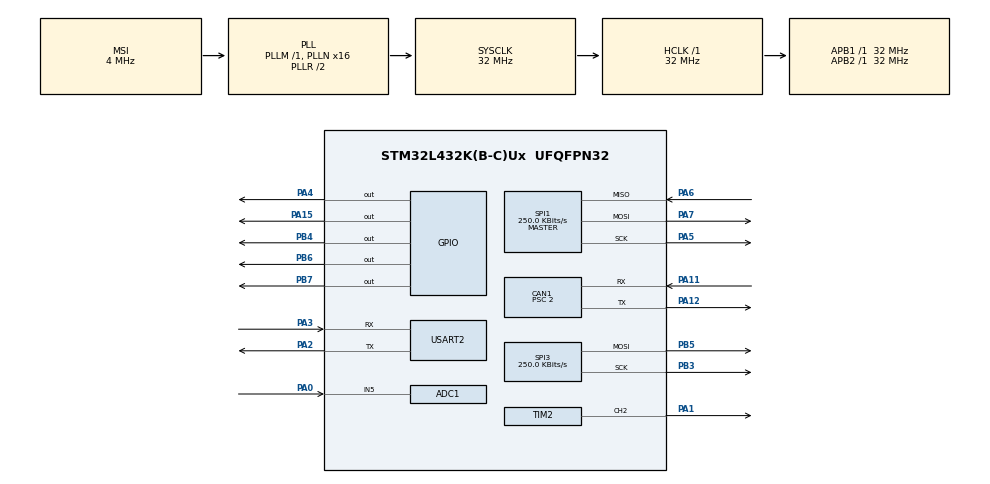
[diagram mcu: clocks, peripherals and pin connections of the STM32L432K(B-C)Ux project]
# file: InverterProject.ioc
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ADC1.Channel-1\#ChannelRegularConversion=ADC_CHANNEL_5
ADC1.NbrOfConversionFlag=1
ADC1.OffsetNumber-1\#ChannelRegularConversion=ADC_OFFSET_NONE
ADC1.Rank-1\#ChannelRegularConversion=1
ADC1.SamplingTime-1\#ChannelRegularConversion=ADC_SAMPLETIME_2CYCLES_5
ADC1.master=1
CAN1.BS1=CAN_BS1_12TQ
CAN1.BS2=CAN_BS2_3TQ
CAN1.CalculateBaudRate=1000000
CAN1.CalculateTimeBit=1000
CAN1.CalculateTimeQuantum=62.5
CAN1.Prescaler=2
FATFS._MAX_SS=4096
FATFS._USE_LFN=3
FREERTOS.Tasks01=defaultTask,0,128,StartDefaultTask,Default,NULL,Dynamic,NULL,NULL
FREERTOS.configTOTAL_HEAP_SIZE=16384
Mcu.Family=STM32L4
Mcu.Name=STM32L432K(B-C)Ux
Mcu.Package=UFQFPN32
NUCLEO-L432KC.LD3=false
NVIC.CAN1_RX0_IRQn=true\:5\:0\:false\:false\:true\:true\:true\:true\:true
NVIC.PriorityGroup=NVIC_PRIORITYGROUP_4
NVIC.TIM1_UP_TIM16_IRQn=true\:15\:0\:false\:false\:true\:false\:false\:true\:true
NVIC.TimeBase=TIM1_UP_TIM16_IRQn
NVIC.TimeBaseIP=TIM1
PA0.Signal=ADCx_IN5
PA1.Signal=S_TIM2_CH2
PA11.Mode=CAN_Activate
PA11.Signal=CAN1_RX
PA12.Mode=CAN_Activate
PA12.Signal=CAN1_TX
PA13\ (JTMS-SWDIO).Mode=Serial_Wire
PA13\ (JTMS-SWDIO).Signal=SYS_JTMS-SWDIO
PA14\ (JTCK-SWCLK).Mode=Serial_Wire
PA14\ (JTCK-SWCLK).Signal=SYS_JTCK-SWCLK
PA15\ (JTDI).Signal=GPIO_Output
PA2.Mode=Asynchronous
PA2.Signal=USART2_TX
PA3.Mode=Asynchronous
PA3.Signal=USART2_RX
PA4.Signal=GPIO_Output
PA5.Mode=Full_Duplex_Master
PA5.Signal=SPI1_SCK
PA6.Mode=Full_Duplex_Master
PA6.Signal=SPI1_MISO
PA7.Mode=Full_Duplex_Master
PA7.Signal=SPI1_MOSI
PB3\ (JTDO-TRACESWO).Mode=TX_Only_Simplex_Unidirect_Master
PB3\ (JTDO-TRACESWO).Signal=SPI3_SCK
PB4\ (NJTRST).Signal=GPIO_Output
PB5.Mode=TX_Only_Simplex_Unidirect_Master
PB5.Signal=SPI3_MOSI
PB6.Signal=GPIO_Output
PB7.Signal=GPIO_Output
PC14-OSC32_IN\ (PC14).Mode=LSE-External-Oscillator
PC14-OSC32_IN\ (PC14).Signal=RCC_OSC32_IN
PC15-OSC32_OUT\ (PC15).Mode=LSE-External-Oscillator
PC15-OSC32_OUT\ (PC15).Signal=RCC_OSC32_OUT
ProjectManager.HeapSize=0x200
ProjectManager.StackSize=0x400
ProjectManager.TargetToolchain=Makefile
RCC.ADCFreq_Value=32000000
RCC.AHBFreq_Value=32000000
RCC.APB1Freq_Value=32000000
RCC.APB1TimFreq_Value=32000000
RCC.APB2Freq_Value=32000000
RCC.APB2TimFreq_Value=32000000
RCC.CortexFreq_Value=32000000
RCC.HCLKFreq_Value=32000000
RCC.HSE_VALUE=8000000
RCC.HSI16_VALUE=16000000
RCC.HSI48_VALUE=48000000
RCC.HSI_VALUE=16000000
RCC.MSI_VALUE=4000000
RCC.PLLMUL=RCC_PLLMUL_4
RCC.PLLN=16
RCC.PLLSAI1N=16
RCC.SYSCLKFreq_VALUE=32000000
RCC.SYSCLKSource=RCC_SYSCLKSOURCE_PLLCLK
RCC.USBFreq_Value=32000000
RCC.VCOOutputFreq_Value=64000000
SH.ADCx_IN5.0=ADC1_IN5,IN5-Single-Ended
SH.S_TIM2_CH2.0=TIM2_CH2,PWM Generation2 CH2
SPI1.BaudRatePrescaler=SPI_BAUDRATEPRESCALER_128
SPI1.CalculateBaudRate=250.0 KBits/s
SPI1.DataSize=SPI_DATASIZE_8BIT
SPI1.Direction=SPI_DIRECTION_2LINES
SPI1.Mode=SPI_MODE_MASTER
SPI1.VirtualType=VM_MASTER
SPI3.BaudRatePrescaler=SPI_BAUDRATEPRESCALER_128
SPI3.CLKPhase=SPI_PHASE_2EDGE
SPI3.CLKPolarity=SPI_POLARITY_HIGH
SPI3.CalculateBaudRate=250.0 KBits/s
SPI3.DataSize=SPI_DATASIZE_8BIT
SPI3.Direction=SPI_DIRECTION_2LINES
SPI3.Mode=SPI_MODE_MASTER
SPI3.VirtualType=VM_MASTER
TIM2.Channel-PWM\ Generation2\ CH2=TIM_CHANNEL_2
USART2.SwapParam=ADVFEATURE_SWAP_ENABLE
USART2.VirtualMode-Asynchronous=VM_ASYNC
VP_FATFS_VS_Generic.Mode=User_defined
VP_FREERTOS_VS_CMSIS_V1.Mode=CMSIS_V1
VP_NUCLEO-L432KC_VS_BSP_COMMON.Mode=COMMON
VP_SYS_VS_tim1.Mode=TIM1
board=NUCLEO-L432KC

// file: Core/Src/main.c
/* USER CODE BEGIN Header */
/**
  ******************************************************************************
  * @file           : main.c
  * @brief          : Main program body
  ******************************************************************************
  * @attention
  *
  * Copyright (c) 2026 STMicroelectronics.
  * All rights reserved.
  *
  * This software is licensed under terms that can be found in the LICENSE file
  * in the root directory of this software component.
  * If no LICENSE file comes with this software, it is provided AS-IS.
  *
  ******************************************************************************
  */
/* USER CODE END Header */
#include "main.h"
#include "cmsis_os.h"
#include "fatfs.h"

/* USER CODE BEGIN Includes */
#include <stdio.h>
#include <string.h>
#include "FATFS_SD.h"
#include "LCD.h"
#include "CAN.h"
#include "stdio.h"
#include "FreeRTOS.h"
#include "queue.h"

/* USER CODE END Includes */

ADC_HandleTypeDef hadc1;

CAN_HandleTypeDef hcan1;

SPI_HandleTypeDef hspi1;
SPI_HandleTypeDef hspi3;

TIM_HandleTypeDef htim2;

UART_HandleTypeDef huart2;

osThreadId defaultTaskHandle;

void SystemClock_Config(void);
static void MX_GPIO_Init(void);
static void MX_CAN1_Init(void);
static void MX_SPI1_Init(void);
static void MX_ADC1_Init(void);
static void MX_TIM2_Init(void);
static void MX_SPI3_Init(void);
static void MX_USART2_UART_Init(void);
void StartDefaultTask(void const * argument);

/* USER CODE BEGIN PFP */

extern volatile uint16_t Timer1, Timer2;

uint8_t Buffer[25] = {0};
uint8_t Space[] = " - ";
uint8_t StartMSG[] = "Starting I2C Scanning: \r\n";
uint8_t EndMSG[] = "Done! \r\n\r\n";

/* USER CODE END PFP */

/* USER CODE BEGIN 0 */

TaskHandle_t StartSdTask = NULL;
TaskHandle_t LCD_Task = NULL;
TaskHandle_t ThrottleCanTask = NULL;
static QueueHandle_t canDisplayQueue = NULL;
static QueueHandle_t canLogQueue = NULL;

static void vLCD_Task(void *pvParameters)
{
  (void)pvParameters;
  static LCD_Handle lcd;

  LCD_Init(&lcd, &hspi3, GPIOB, GPIO_PIN_4, GPIOB, GPIO_PIN_6);
  LCD_PrintLinePadded(&lcd, 0, "LCD TEST");
  LCD_PrintLinePadded(&lcd, 1, "SPI DISPLAY OK");
  LCD_PrintLinePadded(&lcd, 2, "Visible = working");
  LCD_PrintLinePadded(&lcd, 3, "");
  vTaskSuspend(NULL);
}

static void vCAN_RxTask(void *pvParameters)
{
  (void)pvParameters;
  CAN_Comm_SetRxTask(xTaskGetCurrentTaskHandle());
  //printf("CAN RX task started\r\n");
  for (;;)
  {
    //printf("Starting CAN RX task!\n");
    CAN_Message message;
    while (CAN_Comm_Pop(&message))
    {
      /* Keep the receiver draining promptly; the LCD only needs GPS speed. */
      //printf("CAN RX PARSING MESSAGE\n");
      if (!message.is_extended && message.id == 0x007u && message.dlc >= 3)
      {
        xQueueOverwrite(canDisplayQueue, &message);
      }
      handle_message(&message);
      /* The raw CAN_Message is also the record to pass to a future SD logger. */
    }

    ulTaskNotifyTake(pdTRUE, portMAX_DELAY);
  }
}

static void vThrottleCanTask(void *pvParameters)
{
  (void)pvParameters;
  printf("Throttle CAN task started\r\n");

  for (;;)
  {
    printf("Throttle CAN task running\r\n");
    uint8_t throttle_percent;
    HAL_StatusTypeDef status =
        Read_ADC_Throttle_Percent(&hadc1, &throttle_percent);
        printf("Throttle ADC read: %u%%\r\n", throttle_percent);
    if (status == HAL_OK)
    {
      status = CAN_Comm_Send(&hcan1, THROTTLE_CAN_ID, false,
                             &throttle_percent, 1);
      printf("Throttle CAN task sent: %u%%\r\n", throttle_percent);
    }

    if (status != HAL_OK)
    {
      printf("Throttle CAN task failed: %d\r\n", (int)status);
    }

    vTaskDelay(pdMS_TO_TICKS(THROTTLE_CAN_PERIOD_MS));
  }
}
TaskHandle_t CAN_Task_Handle = NULL;

static TaskHandle_t canRxHandle = NULL;
static TaskHandle_t throttleTxHandle = NULL;

#define SD_LOG_SYNC_ROWS 16U
#define SD_LOG_SYNC_INTERVAL_MS 1000U

static void vSdLoggerTask(void *pvParameters)
{
  (void)pvParameters;
  static FIL logFile;
  char logPath[sizeof(USERPath) + sizeof("CANLOG.CSV")];
  char row[CAN_LOG_ROW_SIZE + 2];
  FRESULT result;
  int pathLength;

  pathLength = snprintf(logPath, sizeof(logPath), "%sCANLOG.CSV", USERPath);
  if (pathLength < 0 || pathLength >= (int)sizeof(logPath))
  {
    printf("SD logger: CSV path is too long\r\n");
    vTaskDelete(NULL);
    return;
  }

  for (;;)
  {
    result = f_mount(&USERFatFS, USERPath, 1);
    if (result == FR_OK)
    {
      printf("SD logger: card mounted\r\n");
      break;
    }

    printf("SD logger: mount failed (%d), retrying\r\n", (int)result);
    vTaskDelay(pdMS_TO_TICKS(1000));
  }

  for (;;)
  {
    result = f_open(&logFile, logPath, FA_OPEN_APPEND | FA_WRITE);
    if (result == FR_OK)
    {
      break;
    }

    printf("SD logger: opening %s failed (%d), retrying\r\n",
           logPath, (int)result);
    vTaskDelay(pdMS_TO_TICKS(1000));
  }

  if (f_size(&logFile) == 0)
  {
    const char header[] = CAN_LOG_CSV_HEADER;
    UINT bytesWritten = 0;
    result = f_write(&logFile, header, sizeof(header) - 1, &bytesWritten);
    if (result != FR_OK || bytesWritten != sizeof(header) - 1)
    {
      printf("SD logger: writing CSV header failed (%d, %u bytes)\r\n",
             (int)result, (unsigned)bytesWritten);
      f_close(&logFile);
      vTaskDelete(NULL);
      return;
    }

    result = f_sync(&logFile);
    if (result != FR_OK)
    {
      printf("SD logger: syncing CSV header failed (%d)\r\n", (int)result);
      f_close(&logFile);
      vTaskDelete(NULL);
      return;
    }
  }

  uint32_t rowsSinceSync = 0;
  TickType_t lastSync = xTaskGetTickCount();

  for (;;)
  {
    if (CAN_Comm_ReadLogRow(row, pdMS_TO_TICKS(100)))
    {
      size_t rowLength = strlen(row);
      row[rowLength] = '\r';
      row[rowLength + 1] = '\n';
      UINT writeLength = (UINT)(rowLength + 2);
      UINT bytesWritten = 0;
      result = f_write(&logFile, row, writeLength, &bytesWritten);
      if (result != FR_OK || bytesWritten != writeLength)
      {
        printf("SD logger: writing CSV row failed (%d, %u/%u bytes)\r\n",
               (int)result, (unsigned)bytesWritten, (unsigned)writeLength);
        f_close(&logFile);
        vTaskDelete(NULL);
        return;
      }

      rowsSinceSync++;
      //printf("SD logger: wrote CSV row (%u bytes)\r\n",
      //       (unsigned)writeLength);
    }

    TickType_t now = xTaskGetTickCount();
    if (rowsSinceSync >= SD_LOG_SYNC_ROWS ||
        (rowsSinceSync > 0 &&
         now - lastSync >= pdMS_TO_TICKS(SD_LOG_SYNC_INTERVAL_MS)))
    {
      result = f_sync(&logFile);
      if (result != FR_OK)
      {
        printf("SD logger: syncing CSV failed (%d)\r\n", (int)result);
        f_close(&logFile);
        vTaskDelete(NULL);
        return;
      }

      rowsSinceSync = 0;
      lastSync = now;
    }
  }
}

static void PrintCanFrame(const CAN_Message *msg)
{
    printf("RX %c ID=0x%0*lX DLC=%u DATA=",
           msg->is_extended ? 'E' : 'S',
           msg->is_extended ? 8 : 3,
           (unsigned long)msg->id, (unsigned)msg->dlc);

    for (uint8_t i = 0; i < msg->dlc; i++)
    {
        printf("%02X%s", (unsigned)msg->data[i],
               (i + 1u < msg->dlc) ? " " : "");
    }

    printf("\r\n");
}

static void CanRxTask(void *arg)
{
  printf("CAN RX task started\n");
    (void)arg;
    CAN_Message msg;
    for (;;)
    {
        printf("RX handling message\n");
        ulTaskNotifyTake(pdTRUE, portMAX_DELAY);   /* sleep until ISR wakes us */

        while (CAN_Comm_Pop(&msg))
        {
            PrintCanFrame(&msg);  /* Temporary raw-frame diagnostic */
            handle_message(&msg);
        }
    }
}

/* USER CODE END 0 */

int main(void)
{

  /* MCU Configuration--------------------------------------------------------*/

  /* Reset of all peripherals, Initializes the Flash interface and the Systick. */
  HAL_Init();

  /* Configure the system clock */
  SystemClock_Config();

  /* Initialize all configured peripherals */
  MX_GPIO_Init();
  MX_CAN1_Init();
  MX_SPI1_Init();
  MX_FATFS_Init();
  MX_ADC1_Init();
  MX_TIM2_Init();
  MX_SPI3_Init();
  MX_USART2_UART_Init();
  /* USER CODE BEGIN 2 */
  printf("HELLO THERE!\r\n");
  canLogQueue = xQueueCreate(CAN_LOG_QUEUE_LENGTH, CAN_LOG_ROW_SIZE);
  if (canLogQueue == NULL)
  {
    printf("CAN log queue creation failed, free heap = %u\r\n",
           (unsigned)xPortGetFreeHeapSize());
    Error_Handler();
  }
  CAN_Comm_SetLogQueue(canLogQueue);
  canDisplayQueue = xQueueCreate(1, sizeof(CAN_Message));
  if (canDisplayQueue == NULL)
  {
    printf("CAN display queue creation failed, free heap = %u\r\n",
           (unsigned)xPortGetFreeHeapSize());
    Error_Handler();
  }

  // LCD_PrintStrAt(&lcd,0,2, "speed:");
  // BaseType_t sdLoggerTaskStatus =
  //     xTaskCreate(vSdLoggerTask, "sdLogger", 1024, NULL,
  //                 tskIDLE_PRIORITY + 1, &StartSdTask);
  // if (sdLoggerTaskStatus != pdPASS)
  // {
  //   printf("SD logger task creation failed, free heap = %u\r\n",
  //          (unsigned)xPortGetFreeHeapSize());
  //   Error_Handler();
  // }
  // BaseType_t okLCD = xTaskCreate(vLCD_Task, "LCD", 1024, NULL, 5 , &LCD_Task);
  //   if (okLCD != pdPASS)
  // {
  //   printf("LCD task create failed, free heap = %u\r\n", (unsigned)xPortGetFreeHeapSize());
  //   Error_Handler();
  // }

  BaseType_t canRxTaskStatus =
      xTaskCreate(vCAN_RxTask, "canrx", 1028, NULL,
                  tskIDLE_PRIORITY + 3, &canRxHandle);
  if (canRxTaskStatus != pdPASS)
  {
    printf("CAN RX task creation failed, free heap = %u\r\n",
           (unsigned)xPortGetFreeHeapSize());
    Error_Handler();
  }
  CAN_Comm_SetRxTask(canRxHandle);

    if (CAN_Comm_Init(&hcan1) != HAL_OK)
        Error_Handler();
    BaseType_t throttleTaskStatus =
        xTaskCreate(vThrottleCanTask, "throttleTX", 1024, NULL,
                    tskIDLE_PRIORITY + 2, &throttleTxHandle);
    if (throttleTaskStatus != pdPASS)
    {
      printf("Throttle CAN task creation failed, free heap = %u\r\n",
             (unsigned)xPortGetFreeHeapSize());
      Error_Handler();
    }

  /* USER CODE END 2 */

  /* Create the thread(s) */
  /* definition and creation of defaultTask */
  osThreadDef(defaultTask, StartDefaultTask, osPriorityNormal, 0, 128);
  defaultTaskHandle = osThreadCreate(osThread(defaultTask), NULL);

  /* USER CODE BEGIN RTOS_THREADS */

  // // /* add threads, ... */
  /* USER CODE END RTOS_THREADS */

  /* Start scheduler */
  osKernelStart();

  /* We should never get here as control is now taken by the scheduler */

  /* Infinite loop */
  while (1)
  {

  }
}

void SystemClock_Config(void)
{
  RCC_OscInitTypeDef RCC_OscInitStruct = {0};
  RCC_ClkInitTypeDef RCC_ClkInitStruct = {0};

  /** Configure the main internal regulator output voltage
  */
  if (HAL_PWREx_ControlVoltageScaling(PWR_REGULATOR_VOLTAGE_SCALE1) != HAL_OK)
  {
    Error_Handler();
  }

  /** Configure LSE Drive Capability
  */
  HAL_PWR_EnableBkUpAccess();
  __HAL_RCC_LSEDRIVE_CONFIG(RCC_LSEDRIVE_LOW);

  /** Initializes the RCC Oscillators according to the specified parameters
  * in the RCC_OscInitTypeDef structure.
  */
  RCC_OscInitStruct.OscillatorType = RCC_OSCILLATORTYPE_LSE|RCC_OSCILLATORTYPE_MSI;
  RCC_OscInitStruct.LSEState = RCC_LSE_ON;
  RCC_OscInitStruct.MSIState = RCC_MSI_ON;
  RCC_OscInitStruct.MSICalibrationValue = 0;
  RCC_OscInitStruct.MSIClockRange = RCC_MSIRANGE_6;
  RCC_OscInitStruct.PLL.PLLState = RCC_PLL_ON;
  RCC_OscInitStruct.PLL.PLLSource = RCC_PLLSOURCE_MSI;
  RCC_OscInitStruct.PLL.PLLM = 1;
  RCC_OscInitStruct.PLL.PLLN = 16;
  RCC_OscInitStruct.PLL.PLLP = RCC_PLLP_DIV7;
  RCC_OscInitStruct.PLL.PLLQ = RCC_PLLQ_DIV2;
  RCC_OscInitStruct.PLL.PLLR = RCC_PLLR_DIV2;
  if (HAL_RCC_OscConfig(&RCC_OscInitStruct) != HAL_OK)
  {
    Error_Handler();
  }

  /** Initializes the CPU, AHB and APB buses clocks
  */
  RCC_ClkInitStruct.ClockType = RCC_CLOCKTYPE_HCLK|RCC_CLOCKTYPE_SYSCLK
                              |RCC_CLOCKTYPE_PCLK1|RCC_CLOCKTYPE_PCLK2;
  RCC_ClkInitStruct.SYSCLKSource = RCC_SYSCLKSOURCE_PLLCLK;
  RCC_ClkInitStruct.AHBCLKDivider = RCC_SYSCLK_DIV1;
  RCC_ClkInitStruct.APB1CLKDivider = RCC_HCLK_DIV1;
  RCC_ClkInitStruct.APB2CLKDivider = RCC_HCLK_DIV1;

  if (HAL_RCC_ClockConfig(&RCC_ClkInitStruct, FLASH_LATENCY_1) != HAL_OK)
  {
    Error_Handler();
  }

  /** Enable MSI Auto calibration
  */
  HAL_RCCEx_EnableMSIPLLMode();
}

static void MX_ADC1_Init(void)
{

  ADC_ChannelConfTypeDef sConfig = {0};

  /** Common config
  */
  hadc1.Instance = ADC1;
  hadc1.Init.ClockPrescaler = ADC_CLOCK_ASYNC_DIV1;
  hadc1.Init.Resolution = ADC_RESOLUTION_12B;
  hadc1.Init.DataAlign = ADC_DATAALIGN_RIGHT;
  hadc1.Init.ScanConvMode = ADC_SCAN_DISABLE;
  hadc1.Init.EOCSelection = ADC_EOC_SINGLE_CONV;
  hadc1.Init.LowPowerAutoWait = DISABLE;
  hadc1.Init.ContinuousConvMode = DISABLE;
  hadc1.Init.NbrOfConversion = 1;
  hadc1.Init.DiscontinuousConvMode = DISABLE;
  hadc1.Init.ExternalTrigConv = ADC_SOFTWARE_START;
  hadc1.Init.ExternalTrigConvEdge = ADC_EXTERNALTRIGCONVEDGE_NONE;
  hadc1.Init.DMAContinuousRequests = DISABLE;
  hadc1.Init.Overrun = ADC_OVR_DATA_PRESERVED;
  hadc1.Init.OversamplingMode = DISABLE;
  if (HAL_ADC_Init(&hadc1) != HAL_OK)
  {
    Error_Handler();
  }

  /** Configure Regular Channel
  */
  sConfig.Channel = ADC_CHANNEL_5;
  sConfig.Rank = ADC_REGULAR_RANK_1;
  sConfig.SamplingTime = ADC_SAMPLETIME_2CYCLES_5;
  sConfig.SingleDiff = ADC_SINGLE_ENDED;
  sConfig.OffsetNumber = ADC_OFFSET_NONE;
  sConfig.Offset = 0;
  if (HAL_ADC_ConfigChannel(&hadc1, &sConfig) != HAL_OK)
  {
    Error_Handler();
  }

}

static void MX_CAN1_Init(void)
{

  hcan1.Instance = CAN1;
  hcan1.Init.Prescaler = 2;
  hcan1.Init.Mode = CAN_MODE_NORMAL;
  hcan1.Init.SyncJumpWidth = CAN_SJW_1TQ;
  hcan1.Init.TimeSeg1 = CAN_BS1_12TQ;
  hcan1.Init.TimeSeg2 = CAN_BS2_3TQ;
  hcan1.Init.TimeTriggeredMode = DISABLE;
  hcan1.Init.AutoBusOff = DISABLE;
  hcan1.Init.AutoWakeUp = DISABLE;
  hcan1.Init.AutoRetransmission = DISABLE;
  hcan1.Init.ReceiveFifoLocked = DISABLE;
  hcan1.Init.TransmitFifoPriority = DISABLE;
  if (HAL_CAN_Init(&hcan1) != HAL_OK)
  {
    Error_Handler();
  }

}

static void MX_SPI1_Init(void)
{

  /* SPI1 parameter configuration*/
  hspi1.Instance = SPI1;
  hspi1.Init.Mode = SPI_MODE_MASTER;
  hspi1.Init.Direction = SPI_DIRECTION_2LINES;
  hspi1.Init.DataSize = SPI_DATASIZE_8BIT;
  hspi1.Init.CLKPolarity = SPI_POLARITY_LOW;
  hspi1.Init.CLKPhase = SPI_PHASE_1EDGE;
  hspi1.Init.NSS = SPI_NSS_SOFT;
  hspi1.Init.BaudRatePrescaler = SPI_BAUDRATEPRESCALER_128;
  hspi1.Init.FirstBit = SPI_FIRSTBIT_MSB;
  hspi1.Init.TIMode = SPI_TIMODE_DISABLE;
  hspi1.Init.CRCCalculation = SPI_CRCCALCULATION_DISABLE;
  hspi1.Init.CRCPolynomial = 7;
  hspi1.Init.CRCLength = SPI_CRC_LENGTH_DATASIZE;
  hspi1.Init.NSSPMode = SPI_NSS_PULSE_ENABLE;
  if (HAL_SPI_Init(&hspi1) != HAL_OK)
  {
    Error_Handler();
  }

}

static void MX_SPI3_Init(void)
{

  /* SPI3 parameter configuration*/
  hspi3.Instance = SPI3;
  hspi3.Init.Mode = SPI_MODE_MASTER;
  hspi3.Init.Direction = SPI_DIRECTION_2LINES;
  hspi3.Init.DataSize = SPI_DATASIZE_8BIT;
  hspi3.Init.CLKPolarity = SPI_POLARITY_HIGH;
  hspi3.Init.CLKPhase = SPI_PHASE_2EDGE;
  hspi3.Init.NSS = SPI_NSS_SOFT;
  hspi3.Init.BaudRatePrescaler = SPI_BAUDRATEPRESCALER_128;
  hspi3.Init.FirstBit = SPI_FIRSTBIT_MSB;
  hspi3.Init.TIMode = SPI_TIMODE_DISABLE;
  hspi3.Init.CRCCalculation = SPI_CRCCALCULATION_DISABLE;
  hspi3.Init.CRCPolynomial = 7;
  hspi3.Init.CRCLength = SPI_CRC_LENGTH_DATASIZE;
  hspi3.Init.NSSPMode = SPI_NSS_PULSE_DISABLE;
  if (HAL_SPI_Init(&hspi3) != HAL_OK)
  {
    Error_Handler();
  }

}

static void MX_TIM2_Init(void)
{

  TIM_MasterConfigTypeDef sMasterConfig = {0};
  TIM_OC_InitTypeDef sConfigOC = {0};

  htim2.Instance = TIM2;
  htim2.Init.Prescaler = 0;
  htim2.Init.CounterMode = TIM_COUNTERMODE_UP;
  htim2.Init.Period = 4294967295;
  htim2.Init.ClockDivision = TIM_CLOCKDIVISION_DIV1;
  htim2.Init.AutoReloadPreload = TIM_AUTORELOAD_PRELOAD_DISABLE;
  if (HAL_TIM_PWM_Init(&htim2) != HAL_OK)
  {
    Error_Handler();
  }
  sMasterConfig.MasterOutputTrigger = TIM_TRGO_RESET;
  sMasterConfig.MasterSlaveMode = TIM_MASTERSLAVEMODE_DISABLE;
  if (HAL_TIMEx_MasterConfigSynchronization(&htim2, &sMasterConfig) != HAL_OK)
  {
    Error_Handler();
  }
  sConfigOC.OCMode = TIM_OCMODE_PWM1;
  sConfigOC.Pulse = 0;
  sConfigOC.OCPolarity = TIM_OCPOLARITY_HIGH;
  sConfigOC.OCFastMode = TIM_OCFAST_DISABLE;
  if (HAL_TIM_PWM_ConfigChannel(&htim2, &sConfigOC, TIM_CHANNEL_2) != HAL_OK)
  {
    Error_Handler();
  }
  HAL_TIM_MspPostInit(&htim2);

}

static void MX_USART2_UART_Init(void)
{

  huart2.Instance = USART2;
  huart2.Init.BaudRate = 115200;
  huart2.Init.WordLength = UART_WORDLENGTH_8B;
  huart2.Init.StopBits = UART_STOPBITS_1;
  huart2.Init.Parity = UART_PARITY_NONE;
  huart2.Init.Mode = UART_MODE_TX_RX;
  huart2.Init.HwFlowCtl = UART_HWCONTROL_NONE;
  huart2.Init.OverSampling = UART_OVERSAMPLING_16;
  huart2.Init.OneBitSampling = UART_ONE_BIT_SAMPLE_DISABLE;
  huart2.AdvancedInit.AdvFeatureInit = UART_ADVFEATURE_SWAP_INIT;
  huart2.AdvancedInit.Swap = UART_ADVFEATURE_SWAP_ENABLE;
  if (HAL_UART_Init(&huart2) != HAL_OK)
  {
    Error_Handler();
  }

}

static void MX_GPIO_Init(void)
{
  GPIO_InitTypeDef GPIO_InitStruct = {0};

  /* GPIO Ports Clock Enable */
  __HAL_RCC_GPIOC_CLK_ENABLE();
  __HAL_RCC_GPIOA_CLK_ENABLE();
  __HAL_RCC_GPIOB_CLK_ENABLE();

  /*Configure GPIO pin Output Level */
  HAL_GPIO_WritePin(GPIOA, GPIO_PIN_4|GPIO_PIN_15, GPIO_PIN_RESET);

  /*Configure GPIO pin Output Level */
  HAL_GPIO_WritePin(GPIOB, GPIO_PIN_4|GPIO_PIN_6|GPIO_PIN_7, GPIO_PIN_RESET);

  /*Configure GPIO pins : PA4 PA15 */
  GPIO_InitStruct.Pin = GPIO_PIN_4|GPIO_PIN_15;
  GPIO_InitStruct.Mode = GPIO_MODE_OUTPUT_PP;
  GPIO_InitStruct.Pull = GPIO_NOPULL;
  GPIO_InitStruct.Speed = GPIO_SPEED_FREQ_LOW;
  HAL_GPIO_Init(GPIOA, &GPIO_InitStruct);

  /*Configure GPIO pins : PB4 PB6 PB7 */
  GPIO_InitStruct.Pin = GPIO_PIN_4|GPIO_PIN_6|GPIO_PIN_7;
  GPIO_InitStruct.Mode = GPIO_MODE_OUTPUT_PP;
  GPIO_InitStruct.Pull = GPIO_NOPULL;
  GPIO_InitStruct.Speed = GPIO_SPEED_FREQ_LOW;
  HAL_GPIO_Init(GPIOB, &GPIO_InitStruct);

}

/* USER CODE BEGIN 4 */
#ifdef __GNUC__
#define PUTCHAR_PROTOTYPE int __io_putchar(int ch)
#else
  #define PUTCHAR_PROTOTYPE int fputc(int ch, FILE *f)
#endif /* __GNUC__ */
PUTCHAR_PROTOTYPE
{
  HAL_UART_Transmit(&huart2, (uint8_t *)&ch, 1, 0xFFFF);
  return ch;
}

/* USER CODE END 4 */

void StartDefaultTask(void const * argument)
{
  for(;;)
  {
    osDelay(1);
  }
}

void HAL_TIM_PeriodElapsedCallback(TIM_HandleTypeDef *htim)
{
  if (htim->Instance == TIM1)
  {
    HAL_IncTick();
  }
  /* USER CODE BEGIN Callback 1 */
    if (Timer1 > 0) Timer1--;
    if (Timer2 > 0) Timer2--;

  /* USER CODE END Callback 1 */
}

void Error_Handler(void)
{
  __disable_irq();
  while (1)
  {
  }
}
